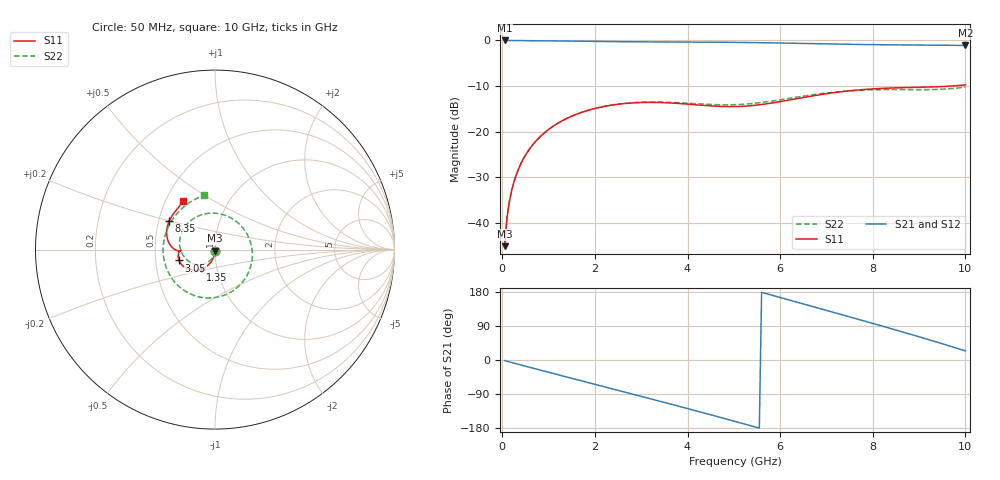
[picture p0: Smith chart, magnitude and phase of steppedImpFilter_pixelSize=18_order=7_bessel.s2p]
! freq	dB(S11)	phase(S11)	dB(S12)	phase(S12)
!  dB(S21)	phase(S21)	dB(S22)	phase(S22)
!S-par simulation data
#  GHz  S  DB  R 50
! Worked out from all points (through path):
!   200 points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, 50 MHz to 10 GHz, reference 50 ohm
!   highest |S21| = 0.00 dB at 50 MHz (marker M1); lowest = -1.1 dB at 10 GHz (marker M2)
!   group delay of S21, straight-line fit = 92.7 ps
!   lowest |S11| = -45.1 dB at 50 MHz (marker M3), VSWR 1.01, Z = 50 - j0.554 ohm
!   |S11| at or under -10 dB: start of sweep to 9.703 GHz
!   |S22| runs from -45.0 to -10.2 dB; largest |S21 - S12| = 0
!   S11 on the Smith chart (normalised r, x): 50 MHz: 1.00, -0.01; 1.35 GHz: 0.83, -0.19; 3.05 GHz: 0.66, -0.08; 8.35 GHz: 0.57, +0.20; 10 GHz: 0.61, +0.37
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0.05  -45.12 -91.8  -0.00 -1.7  -0.00 -1.7  -44.98 -91.8
0.1  -39.05 -93.1  -0.01 -3.3  -0.01 -3.3  -38.99 -94.1
0.15  -35.52 -94.4  -0.01 -4.9  -0.01 -4.9  -35.49 -96.1
0.25  -31.09 -97.0  -0.02 -8.2  -0.02 -8.2  -31.10 -100.0
0.4  -27.06 -101.0  -0.02 -13.0  -0.02 -13.0  -27.08 -105.8
0.6  -23.64 -106.4  -0.04 -19.5  -0.04 -19.5  -23.66 -113.6
0.8  -21.28 -111.7  -0.06 -25.9  -0.06 -25.9  -21.30 -121.4
1.35  -17.31 -125.9  -0.13 -43.6  -0.13 -43.6  -17.32 -143.0
1.75  -15.65 -135.8  -0.18 -56.3  -0.18 -56.3  -15.64 -158.9
2.4  -14.13 -150.5  -0.26 -76.9  -0.26 -76.9  -14.10 174.4
3.05  -13.60 -163.2  -0.31 -97.5  -0.31 -97.5  -13.54 145.7
3.4  -13.61 -168.9  -0.33 -108.7  -0.33 -108.7  -13.52 128.9
4.15  -14.09 -177.2  -0.36 -133.0  -0.36 -133.0  -13.87 88.4
4.6  -14.41 -179.0  -0.39 -147.8  -0.39 -147.8  -14.09 60.7
5.05  -14.50 -178.7  -0.42 -162.9  -0.42 -162.9  -14.08 31.2
5.45  -14.23 -178.0  -0.47 -176.3  -0.47 -176.3  -13.78 4.5
5.85  -13.68 -178.3  -0.53 170.1  -0.53 170.1  -13.25 -21.3
6.7  -12.16 175.3  -0.70 141.2  -0.70 141.2  -11.92 -70.9
7.55  -10.99 162.5  -0.86 112.1  -0.86 112.1  -11.02 -115.5
8.35  -10.45 148.4  -0.96 84.4  -0.96 84.4  -10.77 -157.2
9.15  -10.24 135.1  -1.01 55.8  -1.01 55.8  -10.79 156.8
10  -9.74 123.1  -1.10 24.0  -1.10 24.0  -10.21 101.7
